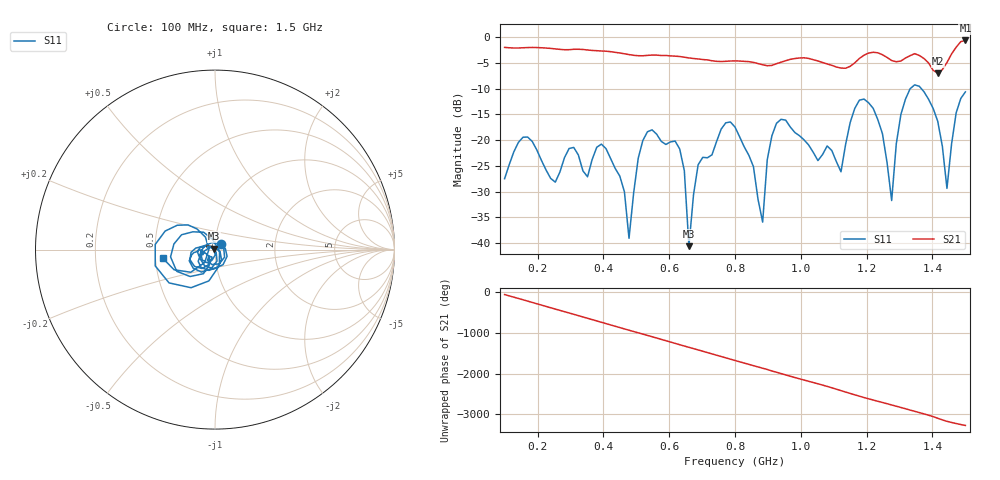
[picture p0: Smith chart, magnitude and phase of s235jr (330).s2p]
! NanoVNA-App
! Date: 2025-09-25 15:06:44
! Start: 100MHz Stop: 1,5GHz Points: 101
! S-Parameter data: F S11 S21 S12 S22
# Hz S RI R 50
!  Frequency  S11_Real  S11_Imag  S21_Real  S21_Imag  S12_Real  S12_Imag  S22_Real  S22_Imag
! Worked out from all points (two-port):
!   101 points, 100 MHz to 1.5 GHz, reference 50 ohm
!   highest |S21| = -0.62 dB at 1.5 GHz (marker M1); lowest = -7.0 dB at 1.416 GHz (marker M2)
!   |S21| within 3 dB of the highest: start of sweep to 603.1 MHz; 1.189 GHz to 1.254 GHz (65.08 MHz wide, 5.33 % of centre) (the widest 2 of 4)
!   lowest |S11| = -40.6 dB at 660 MHz (marker M3), VSWR 1.02, Z = 49.3 + j0.595 ohm
!   |S11| at or under -10 dB: start of sweep to 1.332 GHz; 1.366 GHz to end of sweep
!   S12 and S22 are empty: the file has one direction only
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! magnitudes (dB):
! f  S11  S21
! 100 MHz  -27.5  -2.0
! 156 MHz  -19.4  -2.0
! 338 MHz  -26.0  -2.4
! 408 MHz  -21.6  -2.7
! 478 MHz  -39.1  -3.4
! 520 MHz  -20.1  -3.6
! 576 MHz  -20.2  -3.5
! 632 MHz  -21.7  -3.7
! 660 MHz  -40.6  -4.0
! 688 MHz  -24.8  -4.2
! 800 MHz  -17.4  -4.6
! 884 MHz  -35.9  -5.3
! 926 MHz  -16.7  -5.1
! 1.038 GHz  -22.4  -4.4
! 1.122 GHz  -26.1  -6.0
! 1.192 GHz  -12.0  -3.5
! 1.248 GHz  -18.7  -3.4
! 1.276 GHz  -31.7  -4.5
! 1.332 GHz  -10.0  -3.6
! 1.416 GHz  -16.3  -7.0
! 1.444 GHz  -29.4  -4.9
! 1.5 GHz  -10.6  -0.6
